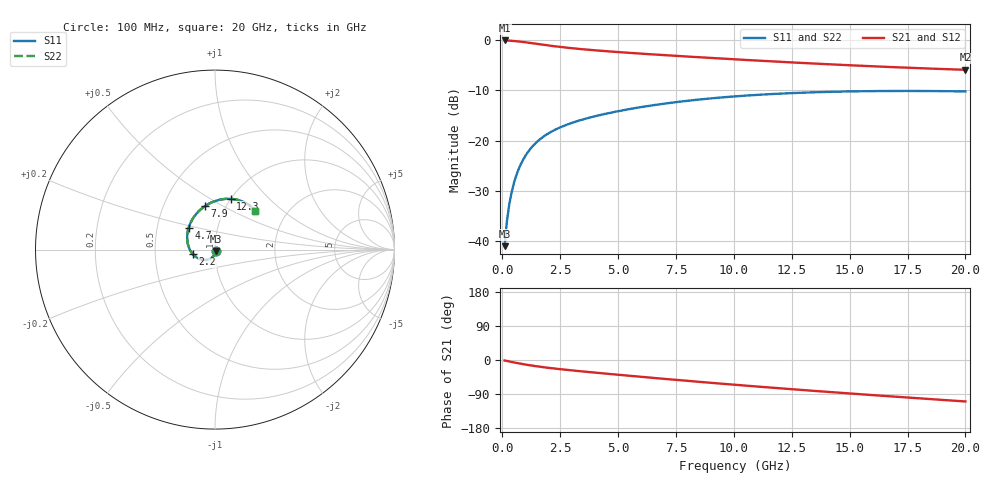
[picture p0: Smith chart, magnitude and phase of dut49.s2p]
! Touchstone file exported from HFSS 2024.1.0
!  File:  C:/UserFiles/LocalFiles/RDL_TSV_Batchsim/temp_RDL_TSV_49_1779406601.aedt
!  Generated:  07:51:32 AM May 22, 2026
!  Design:  RDL_TSV
!  Project:  temp_RDL_TSV_49_1779406601
!  Setup:  Setup1
!  Solution:  Sweep
! Variables:
!  dtsv = 13.18um
!  hbump = 3um
!  htsv = 86.17um
!  ldown = 231.22um
!  lrdl = 106.8um
!  p = 40
!  p1 = 57.06um
!  rhole = 10um
!  subl = 1120.86um
!  t = 450um
!  tdown = 4.73um
!  trdl = 4.57um
!  viad = 10um
!  wdown = 27.74um
!  wrdl = 15.8um
!  xbump = 18um
# GHz S MA R 50.000000
! Terminal data exported
! Port[1] = TM1_1_T1
! Port[2] = TM1_4_T1
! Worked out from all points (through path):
!   200 points, 100 MHz to 20 GHz, reference 50 ohm
!   highest |S21| = -0.05 dB at 100 MHz (marker M1); lowest = -5.9 dB at 20 GHz (marker M2)
!   group delay of S21, straight-line fit = 14.1 ps
!   lowest |S11| = -41.0 dB at 100 MHz (marker M3), VSWR 1.02, Z = 50.4 - j0.781 ohm
!   |S11| at or under -10 dB: start of sweep to end of sweep
!   |S22| runs from -41.0 to -10.1 dB; largest |S21 - S12| = 1.2e-14
!   S11 on the Smith chart (normalised r, x): 100 MHz: 1.01, -0.02; 2.2 GHz: 0.78, -0.04; 4.7 GHz: 0.72, +0.18; 7.9 GHz: 0.80, +0.41; 12.3 GHz: 1.00, +0.62; 20 GHz: 1.39, +0.66
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0.1  0.008869 -60.9  0.9946 -1.3  0.9946 -1.3  0.008869 -60.9
! Gamma 0 0 0 0
! Port Impedance 50 0 50 0
0.2  0.01575 -79.8  0.9929 -2.6  0.9929 -2.6  0.01575 -79.8
0.3  0.02305 -89.8  0.9902 -3.9  0.9902 -3.9  0.02305 -89.8
0.4  0.03038 -97.1  0.9868 -5.2  0.9868 -5.2  0.03038 -97.1
0.5  0.03761 -103.2  0.9827 -6.4  0.9827 -6.4  0.03761 -103.2
0.6  0.04466 -108.6  0.9779 -7.6  0.9779 -7.6  0.04466 -108.6
0.7  0.05151 -113.7  0.9726 -8.7  0.9726 -8.7  0.05151 -113.7
0.8  0.05812 -118.4  0.9668 -9.9  0.9668 -9.9  0.05812 -118.4
1  0.07057 -127.1  0.954 -12.0  0.954 -12.0  0.07057 -127.2
1.3  0.08729 -139.0  0.9334 -15.0  0.9334 -15.0  0.0873 -139.0
1.7  0.1062 -153.0  0.9058 -18.4  0.9058 -18.4  0.1062 -153.0
2.2  0.1255 -168.0  0.8743 -22.2  0.8743 -22.2  0.1255 -168.1
2.8  0.1443 176.6  0.8423 -26.1  0.8423 -26.1  0.1444 176.6
3.5  0.1628 161.6  0.8119 -30.4  0.8119 -30.4  0.1629 161.5
4.7  0.19 140.9  0.7708 -37.3  0.7708 -37.3  0.1901 140.8
6.8  0.23 114.3  0.715 -48.7  0.715 -48.7  0.2303 114.2
7.9  0.2477 103.5  0.6897 -54.5  0.6897 -54.5  0.2481 103.5
10.1  0.2763 86.2  0.644 -65.6  0.644 -65.6  0.2768 86.2
12.3  0.2959 72.8  0.6042 -76.2  0.6042 -76.2  0.2964 72.8
13.4  0.3025 67.3  0.5864 -81.2  0.5864 -81.2  0.3032 67.3
16.7  0.312 53.8  0.5412 -95.7  0.5412 -95.7  0.3127 53.8
20  0.309 44.2  0.5073 -109.4  0.5073 -109.4  0.3098 44.2
